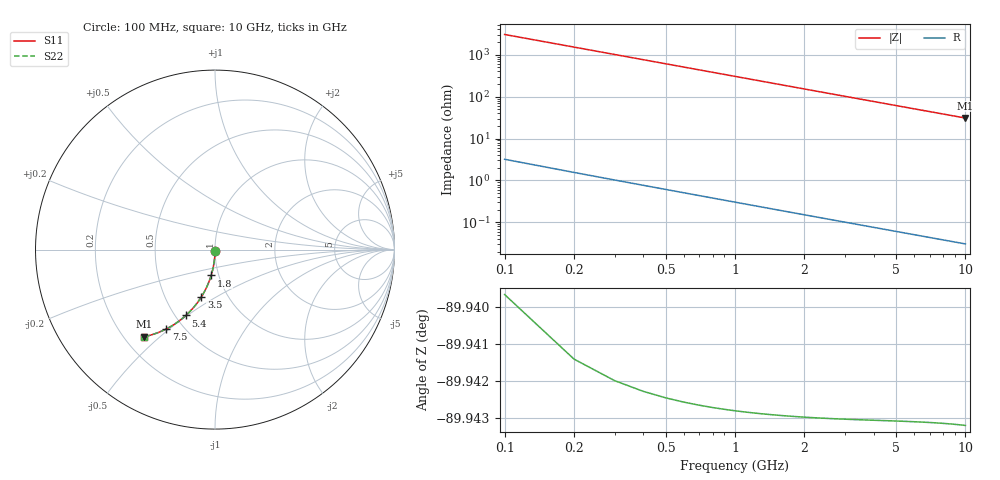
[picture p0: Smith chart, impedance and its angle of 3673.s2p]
# Hz S RI R 50.00
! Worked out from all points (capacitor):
!   100 points, 100 MHz to 10 GHz, reference 50 ohm
!   read as one part in shunt: C = 523 fF near 100 MHz
!   lowest |Z| = 30.9 ohm at 10 GHz (marker M1)
!   S11 on the Smith chart (normalised r, x): 100 MHz: 1.00, -0.02; 1.8 GHz: 0.92, -0.27; 3.5 GHz: 0.75, -0.43; 5.4 GHz: 0.56, -0.49; 7.5 GHz: 0.40, -0.49; 10 GHz: 0.28, -0.44
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1e8  -7.06e-05 -0.00819  0.9999 -0.00825  0.9999 -0.00825  -7.06e-05 -0.00819
2e8  -0.000281 -0.0164  0.9997 -0.0165  0.9997 -0.0165  -0.000281 -0.0164
3e8  -0.000626 -0.0245  0.9994 -0.0247  0.9994 -0.0247  -0.000626 -0.0245
4e8  -0.00111 -0.0327  0.9989 -0.0329  0.9989 -0.0329  -0.00111 -0.0327
5e8  -0.00172 -0.0409  0.9983 -0.0411  0.9983 -0.0411  -0.00172 -0.0409
6e8  -0.00247 -0.049  0.9975 -0.0493  0.9975 -0.0493  -0.00247 -0.049
8e8  -0.00436 -0.0652  0.9956 -0.0656  0.9956 -0.0656  -0.00436 -0.0652
1.1e9  -0.00817 -0.0892  0.9918 -0.0899  0.9918 -0.0899  -0.00817 -0.0892
1.4e9  -0.0131 -0.113  0.9869 -0.1138  0.9869 -0.1138  -0.0131 -0.113
1.8e9  -0.0215 -0.1439  0.9785 -0.145  0.9785 -0.145  -0.0215 -0.1439
2.1e9  -0.0289 -0.1665  0.971 -0.1678  0.971 -0.1678  -0.0289 -0.1665
2.5e9  -0.0404 -0.1958  0.9595 -0.1972  0.9595 -0.1972  -0.0404 -0.1958
2.9e9  -0.0536 -0.2238  0.9464 -0.2255  0.9464 -0.2255  -0.0536 -0.2238
3.4e9  -0.072 -0.2571  0.9279 -0.2591  0.9279 -0.2591  -0.072 -0.2571
3.5e9  -0.076 -0.2635  0.924 -0.2655  0.924 -0.2655  -0.076 -0.2635
4.3e9  -0.1101 -0.3113  0.8899 -0.3138  0.8899 -0.3138  -0.1101 -0.3113
5.1e9  -0.1479 -0.353  0.8521 -0.356  0.8521 -0.356  -0.1479 -0.353
5.4e9  -0.1628 -0.3671  0.8372 -0.3703  0.8372 -0.3703  -0.1628 -0.3671
6.7e9  -0.2297 -0.4181  0.7703 -0.4221  0.7703 -0.4221  -0.2297 -0.4181
7.5e9  -0.2715 -0.442  0.7284 -0.4465  0.7284 -0.4465  -0.2715 -0.442
8.4e9  -0.3181 -0.4627  0.6818 -0.4678  0.6818 -0.4678  -0.3181 -0.4627
1e10  -0.3973 -0.4858  0.6027 -0.4919  0.6027 -0.4919  -0.3973 -0.4858
